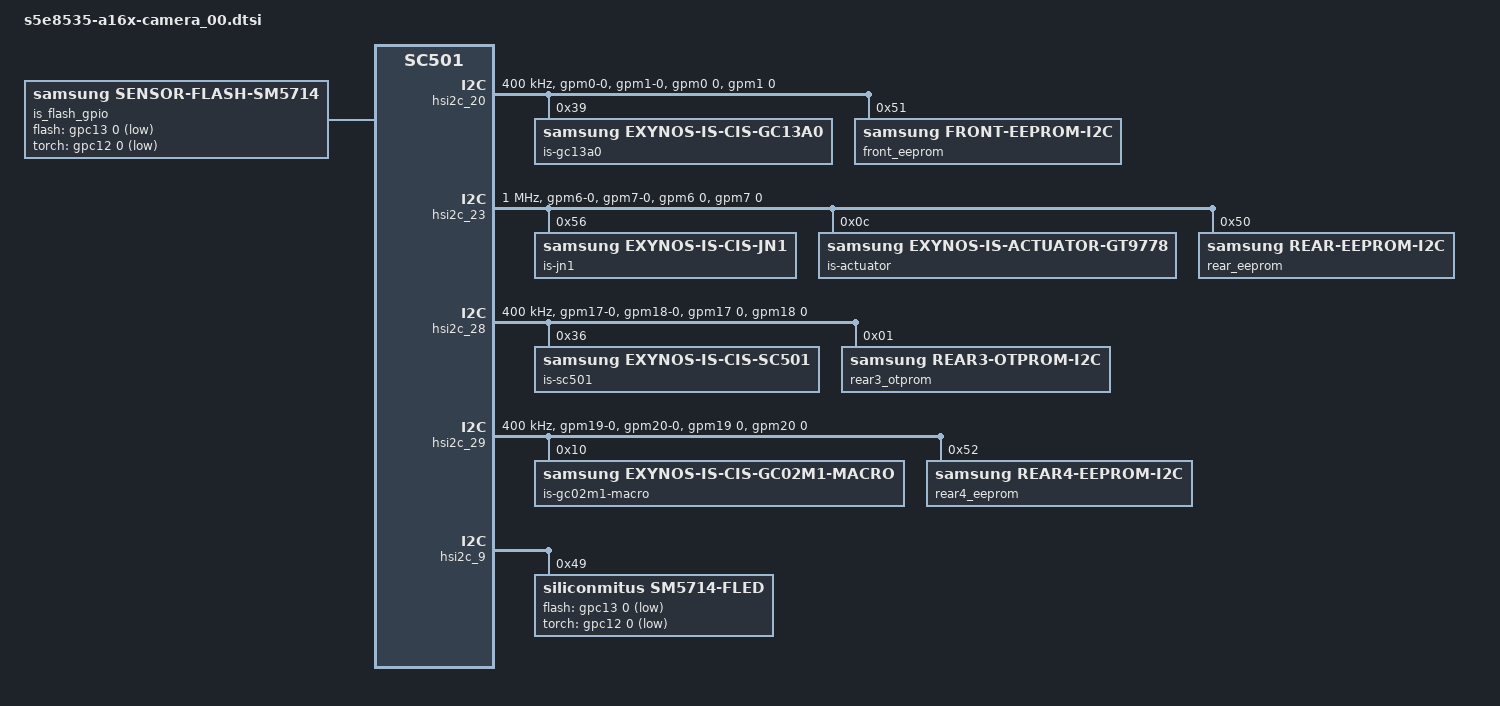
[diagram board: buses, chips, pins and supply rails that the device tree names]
/*
 * Samsung Exynos SoC series Pablo driver
 *
 * Copyright (c) 2022 Samsung Electronics Co., Ltd
 *
 * This program is free software; you can redistribute it and/or modify
 * it under the terms of the GNU General Public License version 2 as
 * published by the Free Software Foundation.
 */

#include <dt-bindings/camera/exynos_is_dt.h>

#include "module_jn1.dtsi"
#include "module_gc13a0.dtsi"
#include "module_sc501.dtsi"
#include "module_gc02m1.dtsi"

/ {
	fragment@camera {
		target-path = "/";
		__overlay__ {
			#address-cells = <2>;
			#size-cells = <1>;
			interrupt-parent = <&gic>;

			is_sensor_jn1: is_sensor_jn1@AC {

				flash {
					product_name = <20>; /* SM5714 */
				};

				power_seq {
					scenario_normal_on {
						20 { pname = "CAM_VDDIO_1P8_EN"; pin = <PIN_OUTPUT 1 1000>; gpio = <&gpp0 7 0x1>; share = <SRT_ACQUIRE SHARED_PIN1 1>; };
						21 { pname = "VDDD_RCAM2_FCAM_1P2"; pin = <PIN_REGULATOR 1 1100>; share = <SRT_ACQUIRE SHARED_PIN4 1>; };
						22 { pname = "sc501 sen_rst high"; pin = <PIN_OUTPUT 1 600>; gpio = <&gpm8 0 0x1>; };
						23 { pname = "VDDA_UW_MACRO_FRONT_2P8"; pin = <PIN_OUTPUT 1 2310>; gpio = <&gpp1 2 0x1>; share = <SRT_ACQUIRE SHARED_PIN3 1>; };
						24 { pname = "sc501 sen_rst low"; pin = <PIN_OUTPUT 0 100>; gpio = <&gpm8 0 0x1>; };
					};
					scenario_normal_off {
						71 { pname = "VDDA_UW_MACRO_FRONT_2P8"; pin = <PIN_OUTPUT 0 1000>; gpio = <&gpp1 2 0x1>; share = <SRT_RELEASE SHARED_PIN3 0>; };
						72 { pname = "VDDD_RCAM2_FCAM_1P2"; pin = <PIN_REGULATOR 0 0>; share = <SRT_RELEASE SHARED_PIN4 0>; };
						90 { pname = "CAM_VDDIO_1P8_EN"; pin = <PIN_OUTPUT 0 1000>; gpio = <&gpp0 7 0x1>; share = <SRT_RELEASE SHARED_PIN1 0>; };
					};
					scenario_vision_on {
						20 { pname = "CAM_VDDIO_1P8_EN"; pin = <PIN_OUTPUT 1 1000>; gpio = <&gpp0 7 0x1>; share = <SRT_ACQUIRE SHARED_PIN1 1>; };
						21 { pname = "VDDD_RCAM2_FCAM_1P2"; pin = <PIN_REGULATOR 1 1100>; share = <SRT_ACQUIRE SHARED_PIN4 1>; };
						22 { pname = "sc501 sen_rst high"; pin = <PIN_OUTPUT 1 600>; gpio = <&gpm8 0 0x1>; };
						23 { pname = "VDDA_UW_MACRO_FRONT_2P8"; pin = <PIN_OUTPUT 1 2310>; gpio = <&gpp1 2 0x1>; share = <SRT_ACQUIRE SHARED_PIN3 1>; };
						24 { pname = "sc501 sen_rst low"; pin = <PIN_OUTPUT 0 100>; gpio = <&gpm8 0 0x1>; };
					};
					scenario_vision_off {
						71 { pname = "VDDA_UW_MACRO_FRONT_2P8"; pin = <PIN_OUTPUT 0 1000>; gpio = <&gpp1 2 0x1>; share = <SRT_RELEASE SHARED_PIN3 0>; };
						72 { pname = "VDDD_RCAM2_FCAM_1P2"; pin = <PIN_REGULATOR 0 0>; share = <SRT_RELEASE SHARED_PIN4 0>; };
						90 { pname = "CAM_VDDIO_1P8_EN"; pin = <PIN_OUTPUT 0 1000>; gpio = <&gpp0 7 0x1>; share = <SRT_RELEASE SHARED_PIN1 0>; };
					};
					scenario_read_rom_on {
						10 { pname = "CAM_VDDIO_1P8_EN"; pin = <PIN_OUTPUT 1 1000>; gpio = <&gpp0 7 0x1>; share = <SRT_ACQUIRE SHARED_PIN1 1>; };
						21 { pname = "VDDD_RCAM2_FCAM_1P2"; pin = <PIN_REGULATOR 1 1500>; share = <SRT_ACQUIRE SHARED_PIN4 1>; };
						22 { pname = "sc501 sen_rst high"; pin = <PIN_OUTPUT 1 1500>; gpio = <&gpm8 0 0x1>; };
						23 { pname = "VDDA_UW_MACRO_FRONT_2P8"; pin = <PIN_OUTPUT 1 2500>; gpio = <&gpp1 2 0x1>; share = <SRT_ACQUIRE SHARED_PIN3 1>; };
						24 { pname = "sc501 sen_rst low"; pin = <PIN_OUTPUT 0 1500>; gpio = <&gpm8 0 0x1>; };
					};
					scenario_read_rom_off {
						21 { pname = "VDDA_UW_MACRO_FRONT_2P8"; pin = <PIN_OUTPUT 0 1000>; gpio = <&gpp1 2 0x1>; share = <SRT_RELEASE SHARED_PIN3 0>; };
						22 { pname = "VDDD_RCAM2_FCAM_1P2"; pin = <PIN_REGULATOR 0 0>; share = <SRT_RELEASE SHARED_PIN4 0>; };
						30 { pname = "CAM_VDDIO_1P8_EN"; pin = <PIN_OUTPUT 0 1000>; gpio = <&gpp0 7 0x1>; share = <SRT_RELEASE SHARED_PIN1 0>; };
					};
				};
			};

			/* Front */
			is_sensor_gc13a0: is_sensor_gc13a0@72 {
				power_seq {
					scenario_normal_on {
						20 { pname = "CAM_VDDIO_1P8_EN"; pin = <PIN_OUTPUT 1 1000>; gpio = <&gpp0 7 0x1>; share = <SRT_ACQUIRE SHARED_PIN1 1>; };
						30 { pname = "VDDD_RCAM2_FCAM_1P2"; pin = <PIN_REGULATOR 1 1500>; share = <SRT_ACQUIRE SHARED_PIN4 1>; };
						35 { pname = "sc501 sen_rst high"; pin = <PIN_OUTPUT 1 1500>; gpio = <&gpm8 0 0x1>; };
						40 { pname = "VDDA_UW_MACRO_FRONT_2P8"; pin = <PIN_OUTPUT 1 2500>; gpio = <&gpp1 2 0x1>; share = <SRT_ACQUIRE SHARED_PIN3 1>; };
						45 { pname = "sc501 sen_rst low"; pin = <PIN_OUTPUT 0 1500>; gpio = <&gpm8 0 0x1>; };
					};
					scenario_normal_off {
						70 { pname = "VDDA_UW_MACRO_FRONT_2P8"; pin = <PIN_OUTPUT 0 1000>; gpio = <&gpp1 2 0x1>; share = <SRT_RELEASE SHARED_PIN3 0>; };
						80 { pname = "VDDD_RCAM2_FCAM_1P2"; pin = <PIN_REGULATOR 0 1000>; share = <SRT_RELEASE SHARED_PIN4 0>; };
						90 { pname = "CAM_VDDIO_1P8_EN"; pin = <PIN_OUTPUT 0 1000>; gpio = <&gpp0 7 0x1>; share = <SRT_RELEASE SHARED_PIN1 0>; };
					};
					scenario_vision_on {
						20 { pname = "CAM_VDDIO_1P8_EN"; pin = <PIN_OUTPUT 1 1000>; gpio = <&gpp0 7 0x1>; share = <SRT_ACQUIRE SHARED_PIN1 1>; };
						30 { pname = "VDDD_RCAM2_FCAM_1P2"; pin = <PIN_REGULATOR 1 1500>; share = <SRT_ACQUIRE SHARED_PIN4 1>; };
						35 { pname = "sc501 sen_rst high"; pin = <PIN_OUTPUT 1 1500>; gpio = <&gpm8 0 0x1>; };
						40 { pname = "VDDA_UW_MACRO_FRONT_2P8"; pin = <PIN_OUTPUT 1 2500>; gpio = <&gpp1 2 0x1>; share = <SRT_ACQUIRE SHARED_PIN3 1>; };
						45 { pname = "sc501 sen_rst low"; pin = <PIN_OUTPUT 0 1500>; gpio = <&gpm8 0 0x1>; };
					};
					scenario_vision_off {
						70 { pname = "VDDA_UW_MACRO_FRONT_2P8"; pin = <PIN_OUTPUT 0 1000>; gpio = <&gpp1 2 0x1>; share = <SRT_RELEASE SHARED_PIN3 0>; };
						80 { pname = "VDDD_RCAM2_FCAM_1P2"; pin = <PIN_REGULATOR 0 1000>; share = <SRT_RELEASE SHARED_PIN4 0>; };
						90 { pname = "CAM_VDDIO_1P8_EN"; pin = <PIN_OUTPUT 0 1000>; gpio = <&gpp0 7 0x1>; share = <SRT_RELEASE SHARED_PIN1 0>; };
					};
					scenario_read_rom_on {
						20 { pname = "CAM_VDDIO_1P8_EN"; pin = <PIN_OUTPUT 1 1000>; gpio = <&gpp0 7 0x1>; share = <SRT_ACQUIRE SHARED_PIN1 1>; };
						30 { pname = "VDDD_RCAM2_FCAM_1P2"; pin = <PIN_REGULATOR 1 1500>; share = <SRT_ACQUIRE SHARED_PIN4 1>; };
						35 { pname = "sc501 sen_rst high"; pin = <PIN_OUTPUT 1 1500>; gpio = <&gpm8 0 0x1>; };
						40 { pname = "VDDA_UW_MACRO_FRONT_2P8"; pin = <PIN_OUTPUT 1 2500>; gpio = <&gpp1 2 0x1>; share = <SRT_ACQUIRE SHARED_PIN3 1>; };
						45 { pname = "sc501 sen_rst low"; pin = <PIN_OUTPUT 0 1500>; gpio = <&gpm8 0 0x1>; };
					};
					scenario_read_rom_off {
						70 { pname = "VDDA_UW_MACRO_FRONT_2P8"; pin = <PIN_OUTPUT 0 1000>; gpio = <&gpp1 2 0x1>; share = <SRT_RELEASE SHARED_PIN3 0>; };
						80 { pname = "VDDD_RCAM2_FCAM_1P2"; pin = <PIN_REGULATOR 0 1000>; share = <SRT_RELEASE SHARED_PIN4 0>; };
						90 { pname = "CAM_VDDIO_1P8_EN"; pin = <PIN_OUTPUT 0 1000>; gpio = <&gpp0 7 0x1>; share = <SRT_RELEASE SHARED_PIN1 0>; };
					};
				};
			};

			/* Ultra-Wide */
			is_sensor_sc501: is_sensor_sc501@6C {
				power_seq {
					scenario_normal_on {
						20 { pname = "CAM_VDDIO_1P8_EN"; pin = <PIN_OUTPUT 1 1500>; gpio = <&gpp0 7 0x1>; share = <SRT_ACQUIRE SHARED_PIN1 1>; };
						30 { pname = "VDDD_RCAM2_FCAM_1P2"; pin = <PIN_REGULATOR 1 1500>; share = <SRT_ACQUIRE SHARED_PIN4 1>; };
						40 { pname = "VDDA_UW_MACRO_FRONT_2P8"; pin = <PIN_OUTPUT 1 2000>; gpio = <&gpp1 2 0x1>; share = <SRT_ACQUIRE SHARED_PIN3 1>; };
						90 { pname = "MCLK"; pin = <PIN_MCLK 1 0>; gpio = <&gpg0 3 0x1>; share = <SRT_ACQUIRE SHARED_PIN2 1>; };
					};
					scenario_normal_off {
						40 { pname = "MCLK"; pin = <PIN_MCLK 0 1000>; gpio = <&gpg0 3 0x1>; share = <SRT_RELEASE SHARED_PIN2 0>; };
						70 { pname = "VDDA_UW_MACRO_FRONT_2P8"; pin = <PIN_OUTPUT 0 500>; gpio = <&gpp1 2 0x1>; share = <SRT_RELEASE SHARED_PIN3 0>; };
						80 { pname = "VDDD_RCAM2_FCAM_1P2"; pin = <PIN_REGULATOR 0 1000>; share = <SRT_RELEASE SHARED_PIN4 0>; };
						90 { pname = "CAM_VDDIO_1P8_EN"; pin = <PIN_OUTPUT 0 500>; gpio = <&gpp0 7 0x1>; share = <SRT_RELEASE SHARED_PIN1 0>; };
					};
					scenario_vision_on {
						20 { pname = "CAM_VDDIO_1P8_EN"; pin = <PIN_OUTPUT 1 1500>; gpio = <&gpp0 7 0x1>; share = <SRT_ACQUIRE SHARED_PIN1 1>; };
						30 { pname = "VDDD_RCAM2_FCAM_1P2"; pin = <PIN_REGULATOR 1 1500>; share = <SRT_ACQUIRE SHARED_PIN4 1>; };
						40 { pname = "VDDA_UW_MACRO_FRONT_2P8"; pin = <PIN_OUTPUT 1 2000>; gpio = <&gpp1 2 0x1>; share = <SRT_ACQUIRE SHARED_PIN3 1>; };
						90 { pname = "MCLK"; pin = <PIN_MCLK 1 0>; gpio = <&gpg0 3 0x1>; share = <SRT_ACQUIRE SHARED_PIN2 1>; };
					};
					scenario_vision_off {
						40 { pname = "MCLK"; pin = <PIN_MCLK 0 1000>; gpio = <&gpg0 3 0x1>; share = <SRT_RELEASE SHARED_PIN2 0>; };
						70 { pname = "VDDA_UW_MACRO_FRONT_2P8"; pin = <PIN_OUTPUT 0 500>; gpio = <&gpp1 2 0x1>; share = <SRT_RELEASE SHARED_PIN3 0>; };
						80 { pname = "VDDD_RCAM2_FCAM_1P2"; pin = <PIN_REGULATOR 0 1000>; share = <SRT_RELEASE SHARED_PIN4 0>; };
						90 { pname = "CAM_VDDIO_1P8_EN"; pin = <PIN_OUTPUT 0 500>; gpio = <&gpp0 7 0x1>; share = <SRT_RELEASE SHARED_PIN1 0>; };
					};
					scenario_read_rom_on {
						20 { pname = "CAM_VDDIO_1P8_EN"; pin = <PIN_OUTPUT 1 1500>; gpio = <&gpp0 7 0x1>; share = <SRT_ACQUIRE SHARED_PIN1 1>; };
						30 { pname = "VDDD_RCAM2_FCAM_1P2"; pin = <PIN_REGULATOR 1 1500>; share = <SRT_ACQUIRE SHARED_PIN4 1>; };
						40 { pname = "VDDA_UW_MACRO_FRONT_2P8"; pin = <PIN_OUTPUT 1 2000>; gpio = <&gpp1 2 0x1>; share = <SRT_ACQUIRE SHARED_PIN3 1>; };
						90 { pname = "MCLK"; pin = <PIN_MCLK 1 0>; gpio = <&gpg0 3 0x1>; share = <SRT_ACQUIRE SHARED_PIN2 1>; };
					};
					scenario_read_rom_off {
						40 { pname = "MCLK"; pin = <PIN_MCLK 0 1000>; gpio = <&gpg0 3 0x1>; share = <SRT_RELEASE SHARED_PIN2 0>; };
						70 { pname = "VDDA_UW_MACRO_FRONT_2P8"; pin = <PIN_OUTPUT 0 500>; gpio = <&gpp1 2 0x1>; share = <SRT_RELEASE SHARED_PIN3 0>; };
						80 { pname = "VDDD_RCAM2_FCAM_1P2"; pin = <PIN_REGULATOR 0 1000>; share = <SRT_RELEASE SHARED_PIN4 0>; };
						90 { pname = "CAM_VDDIO_1P8_EN"; pin = <PIN_OUTPUT 0 500>; gpio = <&gpp0 7 0x1>; share = <SRT_RELEASE SHARED_PIN1 0>; };
					};
				};
			};

			/* Macro */
			is_sensor_gc02m1_macro: is_sensor_gc02m1_macro@20 {

				flash {
					product_name = <20>; /* SM5714 */
				};

				power_seq {
					scenario_normal_on {
						20 { pname = "CAM_VDDIO_1P8_EN"; pin = <PIN_OUTPUT 1 2000>; gpio = <&gpp0 7 0x1>; share = <SRT_ACQUIRE SHARED_PIN1 1>; };
						21 { pname = "VDDD_RCAM2_FCAM_1P2"; pin = <PIN_REGULATOR 1 1500>; share = <SRT_ACQUIRE SHARED_PIN4 1>; };
						25 { pname = "sc501 sen_rst high"; pin = <PIN_OUTPUT 1 1500>; gpio = <&gpm8 0 0x1>; };
						30 { pname = "VDDA_UW_MACRO_FRONT_2P8"; pin = <PIN_OUTPUT 1 2500>; gpio = <&gpp1 2 0x1>; share = <SRT_ACQUIRE SHARED_PIN3 1>; };
						35 { pname = "sc501 sen_rst low"; pin = <PIN_OUTPUT 0 1500>; gpio = <&gpm8 0 0x1>; };
						60 { pname = "MCLK"; pin = <PIN_MCLK 1 12000>; gpio = <&gpg0 3 0x1>; share = <SRT_ACQUIRE SHARED_PIN2 1>; };
					};
					scenario_normal_off {
						20 { pname = "MCLK"; pin = <PIN_MCLK 0 0>; gpio = <&gpg0 3 0x1>; share = <SRT_RELEASE SHARED_PIN2 0>; };
						40 { pname = "VDDA_UW_MACRO_FRONT_2P8"; pin = <PIN_OUTPUT 0 1000>; gpio = <&gpp1 2 0x1>; share = <SRT_RELEASE SHARED_PIN3 0>; };
						41 { pname = "VDDD_RCAM2_FCAM_1P2"; pin = <PIN_REGULATOR 0 0>; share = <SRT_RELEASE SHARED_PIN4 0>; };
						50 { pname = "CAM_VDDIO_1P8_EN"; pin = <PIN_OUTPUT 0 0>; gpio = <&gpp0 7 0x1>; share = <SRT_RELEASE SHARED_PIN1 0>; };
					};
					scenario_vision_on {
						20 { pname = "CAM_VDDIO_1P8_EN"; pin = <PIN_OUTPUT 1 2000>; gpio = <&gpp0 7 0x1>; share = <SRT_ACQUIRE SHARED_PIN1 1>; };
						21 { pname = "VDDD_RCAM2_FCAM_1P2"; pin = <PIN_REGULATOR 1 1500>; share = <SRT_ACQUIRE SHARED_PIN4 1>; };
						25 { pname = "sc501 sen_rst high"; pin = <PIN_OUTPUT 1 1500>; gpio = <&gpm8 0 0x1>; };
						30 { pname = "VDDA_UW_MACRO_FRONT_2P8"; pin = <PIN_OUTPUT 1 2500>; gpio = <&gpp1 2 0x1>; share = <SRT_ACQUIRE SHARED_PIN3 1>; };
						35 { pname = "sc501 sen_rst low"; pin = <PIN_OUTPUT 0 1500>; gpio = <&gpm8 0 0x1>; };
						60 { pname = "MCLK"; pin = <PIN_MCLK 1 12000>; gpio = <&gpg0 3 0x1>; share = <SRT_ACQUIRE SHARED_PIN2 1>; };
					};
					scenario_vision_off {
						20 { pname = "MCLK"; pin = <PIN_MCLK 0 0>; gpio = <&gpg0 3 0x1>; share = <SRT_RELEASE SHARED_PIN2 0>; };
						40 { pname = "VDDA_UW_MACRO_FRONT_2P8"; pin = <PIN_OUTPUT 0 1000>; gpio = <&gpp1 2 0x1>; share = <SRT_RELEASE SHARED_PIN3 0>; };
						41 { pname = "VDDD_RCAM2_FCAM_1P2"; pin = <PIN_REGULATOR 0 0>; share = <SRT_RELEASE SHARED_PIN4 0>; };
						50 { pname = "CAM_VDDIO_1P8_EN"; pin = <PIN_OUTPUT 0 0>; gpio = <&gpp0 7 0x1>; share = <SRT_RELEASE SHARED_PIN1 0>; };
					};
					scenario_read_rom_on {
						10 { pname = "CAM_VDDIO_1P8_EN"; pin = <PIN_OUTPUT 1 2000>; gpio = <&gpp0 7 0x1>; share = <SRT_ACQUIRE SHARED_PIN1 1>; };
						11 { pname = "VDDD_RCAM2_FCAM_1P2"; pin = <PIN_REGULATOR 1 1500>; share = <SRT_ACQUIRE SHARED_PIN4 1>; };
						12 { pname = "sc501 sen_rst high"; pin = <PIN_OUTPUT 1 1500>; gpio = <&gpm8 0 0x1>; };
						13 { pname = "VDDA_UW_MACRO_FRONT_2P8"; pin = <PIN_OUTPUT 1 2500>; gpio = <&gpp1 2 0x1>; share = <SRT_ACQUIRE SHARED_PIN3 1>; };
						14 { pname = "sc501 sen_rst low"; pin = <PIN_OUTPUT 0 1500>; gpio = <&gpm8 0 0x1>; };
					};
					scenario_read_rom_off {
						11 { pname = "VDDA_UW_MACRO_FRONT_2P8"; pin = <PIN_OUTPUT 0 0>; gpio = <&gpp1 2 0x1>; share = <SRT_RELEASE SHARED_PIN3 0>; };
						12 { pname = "VDDD_RCAM2_FCAM_1P2"; pin = <PIN_REGULATOR 0 0>; share = <SRT_RELEASE SHARED_PIN4 0>; };
						20 { pname = "CAM_VDDIO_1P8_EN"; pin = <PIN_OUTPUT 0 0>; gpio = <&gpp0 7 0x1>; share = <SRT_RELEASE SHARED_PIN1 0>; };
					};
				};
			};

			/* FRONT CAMERA */
			is_sensor0: is_sensor0@15030000 {
				#address-cells = <1>;
				#size-cells = <1>;
				scenario = <SENSOR_SCENARIO_NORMAL>;	/* Normal, Vision, OIS etc */
				id = <1>;
				csi_ch = <0>;
				status = "okay";
				use_cphy = <0>;

				interrupts = <0 INTREQ__CSIS0 IRQ_TYPE_LEVEL_HIGH>; /*MIPI-CSI0 */
				interrupt-names = "csi";
				phys = <&mipi_phy_csis0_m0s4s4s4_s22 0>;
				phy_setfile = <&dcphy_setfile_dphy>;
				phy_tune_default_mode = "4128 3096 30";
			};

			/* REAR CAMERA */
			is_sensor1: is_sensor1@15040000 {
				#address-cells = <1>;
				#size-cells = <1>;
				scenario = <SENSOR_SCENARIO_NORMAL>;    /* Normal, Vision, OIS etc */

				id = <0>;
				csi_ch = <1>;
				status = "okay";
				use_cphy = <0>;

				interrupts = <0 INTREQ__CSIS1 IRQ_TYPE_LEVEL_HIGH>; /* MIPI-CSI1 */
				interrupt-names = "csi";
				phys = <&mipi_phy_csis1_m0s4s4s4_s22 0>;
				phy_setfile = <&dcphy_setfile_dphy>;
				phy_tune_default_mode = "4080 3060 30";
			};

			/* MACRO CAMERA */
			is_sensor2: is_sensor2@15050000 {
				#address-cells = <1>;
				#size-cells = <1>;

				scenario = <SENSOR_SCENARIO_NORMAL>;    /* Normal, Vision, OIS etc */

				id = <3>;
				csi_ch = <2>;
				status = "okay";
				use_cphy = <0>;

				interrupts = <0 INTREQ__CSIS2 IRQ_TYPE_LEVEL_HIGH>; /* MIPI-CSI2 */
				interrupt-names = "csi";
				phys = <&mipi_phy_csis2_m0s4s4s4_s22 0>;
				phy_setfile = <&dphy_setfile>;
				phy_tune_default_mode = "1600 1200 30";
			};

			/* ULTRAWIDE CAMERA */
			is_sensor3: is_sensor3@15060000 {
				#address-cells = <1>;
				#size-cells = <1>;
				reg = <0x0 0x15060000 0x1000>, /* MIPI-CSI3 */
					<0x0 0x150F0000 0x10000>; /* PHY: M0S4S4S4S4S2S1 */
				scenario = <SENSOR_SCENARIO_NORMAL>;    /* Normal, Vision, OIS etc */
				id = <4>;
				csi_ch = <3>;
				status = "okay";
				use_cphy = <0>;

				interrupts = <0 INTREQ__CSIS3 IRQ_TYPE_LEVEL_HIGH>; /* MIPI-CSI3 */
				phys = <&mipi_phy_csis3_m0s4s4s4_s22 0>;
				phy_setfile = <&dphy_setfile_2lane>;
				phy_tune_default_mode = "2576 1932 30";
			};

			is_flash_gpio: is-flash-gpio@0 {
				compatible = "samsung,sensor-flash-sm5714";
				sensor-module = <&is_sensor_jn1>,<&is_sensor_gc02m1_macro>;
				id = <0 3>;
				led_ch = <1>;
				status = "okay";
				flash-gpio = <&gpc13 0 0x1>;
				torch-gpio = <&gpc12 0 0x1>;
			};
		}; /* end of __overlay__ */
	}; /* end of fragment */
}; /* end of root */

/***** reference symbol node *****/
/*
 * [Pin control reference]
 * samsung,pin-function = <0: Input, 1: Output, 2~3: Func>;
 * samsung,pin-pud = <0: NP, 1: PD, 3: PU(2KOhm), 5: PU(0.8KOhm)>;
 * samsung,pin-drv = <0: x1, 1: x2, 2: x3, 3: x4>;
 * samsung,pin-con-pdn = <0: Output0, 1: Output1, 2: Input, 3:Prev>;
 * samsung,pin-pud-pdn = <0: NP, 1: PD, 3: PU>;
 */
&pinctrl_1 {
	/* FRONT I2C */
	hsi2c20_bus: hsi2c20-bus {
		samsung,pins = "gpm0-0", "gpm1-0";
		samsung,pin-function = <2>;
		samsung,pin-pud = <3>;
		samsung,pin-drv = <0>;
	};

	hsi2c20_bus_in: hsi2c20-bus-in {
		samsung,pins = "gpm0-0", "gpm1-0";
		samsung,pin-function = <0>;
		samsung,pin-pud = <3>;
		samsung,pin-drv = <0>;
		//samsung,pin-con-pdn = <2>;
		//samsung,pin-pud-pdn = <1>;
	};

	/* REAR WIDE I2C */
	hsi2c23_bus: hsi2c23-bus {
		samsung,pins = "gpm6-0", "gpm7-0";
		samsung,pin-function = <3>;
		samsung,pin-pud = <5>;
		samsung,pin-drv = <0>;
	};

	hsi2c23_bus_in: hsi2c23-bus-in {
		samsung,pins = "gpm6-0", "gpm7-0";
		samsung,pin-function = <0>;
		samsung,pin-pud = <5>;
		samsung,pin-drv = <0>;
		//samsung,pin-con-pdn = <2>;
		//samsung,pin-pud-pdn = <1>;
	};

	/* RCAM2 I2C */
	hsi2c28_bus: hsi2c28-bus {
		samsung,pins = "gpm17-0", "gpm18-0";
		samsung,pin-function = <2>;
		samsung,pin-pud = <3>;
		samsung,pin-drv = <0>;
	};

	hsi2c28_bus_in: hsi2c28-bus-in {
		samsung,pins = "gpm17-0", "gpm18-0";
		samsung,pin-function = <0>;
		samsung,pin-pud = <3>;
		samsung,pin-drv = <0>;
		//samsung,pin-con-pdn = <2>;
		//samsung,pin-pud-pdn = <1>;
	};

	/* RCAM3 I2C */
	hsi2c29_bus: hsi2c29-bus {
		samsung,pins = "gpm19-0", "gpm20-0";
		samsung,pin-function = <3>;
		samsung,pin-pud = <3>;
		samsung,pin-drv = <0>;
	};

	hsi2c29_bus_in: hsi2c29-bus-in {
		samsung,pins = "gpm19-0", "gpm20-0";
		samsung,pin-function = <0>;
		samsung,pin-pud = <3>;
		samsung,pin-drv = <0>;
		//samsung,pin-con-pdn = <2>;
		//samsung,pin-pud-pdn = <1>;
	};
};

&hsi2c_20 {
	#address-cells = <1>;
	#size-cells = <0>;
	gpios = <&gpm0 0 0 &gpm1 0 0>;
	status = "okay";
	clock-frequency = <400000>;
	samsung,reset-before-trans;

	pinctrl-names = "default","on_i2c","off_i2c";
	pinctrl-0 = <&hsi2c20_bus_in>;
	pinctrl-1 = <&hsi2c20_bus>;
	pinctrl-2 = <&hsi2c20_bus_in>;

	is-gc13a0@72 {
		compatible = "samsung,exynos-is-cis-gc13a0";
		sensor-module = <&is_sensor_gc13a0>;
		reg = <0x39>; /* 1 bit right shift */
		id = <1>; /* matching is_sensor id */
		use_initial_ae; /* for initial AE of face unlock */
		setfile = "setA";
		rev_reg = <0x03f0 2 0x13A0>;
		sensor_f_number = <200>;	/* f number 2.0 */
		vendor_use_adaptive_mipi;
		/* check_mipi_end; */
	};

	front_eeprom@A2 { /* Front eeprom */
		compatible = "samsung,front-eeprom-i2c";
		reg = <0x51>;

		rom_power_position = <1>;
		rom_size = <0x1C7C>;
		cal_map_es_version = <1>;
		camera_module_es_version = "A";
		/*skip_cal_loading;*/

		/* 0 header */
		header_crc_check_list = <0x0000 0x0051 0x0052>;
		/* 0 module */
		crc_check_list	= <0x0056 0x0477 0x0478>;
		/* Master */
		rom_header_version_start_addr = <0x0A>;
		rom_header_cal_data_start_addr = <0x00>;
		rom_header_cal_map_ver_start_addr = <0x16>;
		rom_header_project_name_start_addr = <0x1E>;
		rom_header_module_id_addr = <0x36>;
		rom_header_sensor_id_addr = <0x40>;
		rom_awb_master_addr = <0x0064>;

		/* standard cal */
		use_standard_cal;
		rom_standard_cal_start_addr = <0x0056>;
		rom_standard_cal_end_addr = <0x047B>;
		rom_standard_cal_sec2lsi_end_addr = <0x1A63>;
		rom_awb_start_addr = <0x0064>;
		rom_awb_end_addr = <0x006B>;
		rom_shading_start_addr = <0x006E>;
		rom_shading_end_addr = <0x0466>;
		rom_factory_start_addr = <0x047C>;
		rom_factory_end_addr = <0x069B>;

		rom_awb_sec2lsi_start_addr = <0x0064>;
		rom_awb_sec2lsi_end_addr = <0x006B>;
		rom_awb_sec2lsi_checksum_addr = <0x0070>;
		rom_awb_sec2lsi_checksum_len = <0xC>;
		rom_shading_sec2lsi_start_addr = <0x0074>;
		rom_shading_sec2lsi_end_addr = <0x1A5B>;
		rom_shading_sec2lsi_checksum_addr = <0x1A60>;
		rom_shading_sec2lsi_checksum_len = <0x19EC>;
		rom_factory_sec2lsi_start_addr = <0x1A64>;
	};
};

&hsi2c_23 {
	#address-cells = <1>;
	#size-cells = <0>;
	gpios = <&gpm6 0 0 &gpm7 0 0>;
	status = "okay";
	clock-frequency = <1000000>;
	samsung,reset-before-trans;
	samsung,fast-plus-mode;

	pinctrl-names = "default","on_i2c","off_i2c";
	pinctrl-0 = <&hsi2c23_bus_in>;
	pinctrl-1 = <&hsi2c23_bus>;
	pinctrl-2 = <&hsi2c23_bus_in>;

	is-jn1@AC {
		compatible = "samsung,exynos-is-cis-jn1";
		sensor-module = <&is_sensor_jn1>;
		reg = <0x56>; /* 1 bit right shift */
		id = <0>; /* matching is_sensor id */
		setfile = "setA";
		rev_reg = <0x0002 1 0xA2>;
		sensor_f_number = <180>;	/* f number 1.8 */
		vendor_use_adaptive_mipi;
		/* check_mipi_end; */
	};

	is-actuator@18 {
		compatible = "samsung,exynos-is-actuator-gt9778";
		sensor-module = <&is_sensor_jn1>;
		reg = <0x0C>;
		id = <0>; /* matching is_sensor id */
		place = <0>;
		status = "okay";
	};

	rear_eeprom@A0 { /* Rear Wide eeprom */
		compatible = "samsung,rear-eeprom-i2c";
		reg = <0x50>;

		rom_power_position = <0>;
		rom_size = <0x531A>;
		cal_map_es_version = <1>;
		camera_module_es_version = "A";
		/*skip_cal_loading;*/

		/* 0 header */
		header_crc_check_list = <0x0000 0x00FB 0x00FC>;

		crc_check_list = <  0x0140 0x21EB 0X21EC
			0x2670 0x26BB 0x26BC
			0x26C0 0x2E7B 0x2E7C
			0x36E0 0x36FB 0x36FC
			0x3700 0x3AFB 0x3AFC >;
		/* Master */
		rom_header_version_start_addr = <0x6E>;
		rom_header_cal_data_start_addr = <0x00>;
		rom_header_cal_map_ver_start_addr = <0x90>;
		rom_header_project_name_start_addr = <0x98>;
		rom_header_module_id_addr = <0xB6>;
		rom_header_sensor_id_addr = <0xC0>;
		rom_awb_master_addr = <0x36E0>;
		rom_af_cal_addr = <0x267C 0x2670>; /*AF position inf 0 Near Far */

		/* Rear Crosstalk Cal data */
		rom_xtc_cal_data_start_addr = <0x0140>;
		rom_xtc_cal_data_size = <0x20AC>;
		rom_xtc_cal_data_addr_list = <0x0140 0x21EB>;
		rear_remosaic_tetra_xtc_start_addr	= <0x14AC>;
		rear_remosaic_tetra_xtc_size		= <0x0A34>;
		rear_remosaic_sensor_xtc_start_addr	= <0x1EE0>;
		rear_remosaic_sensor_xtc_size		= <0x0300>;
		rear_remosaic_pdxtc_start_addr		= <0x0140>;
		rear_remosaic_pdxtc_size			= <0x0FA0>;
		rear_remosaic_sw_ggc_start_addr		= <0x10E0>;
		rear_remosaic_sw_ggc_size			= <0x0272>;

		use_standard_cal;
		rom_standard_cal_start_addr = <0x0100>;
		rom_standard_cal_end_addr = <0x3AFF>;
		rom_standard_cal_sec2lsi_end_addr = <0x50DF>;
		rom_awb_start_addr = <0x36E0>;
		rom_awb_end_addr = <0x36E7>;
		rom_shading_start_addr = <0x3700>;
		rom_shading_end_addr = <0x3AF8>;
		rom_factory_start_addr = <0x3B00>;
		rom_factory_end_addr = <0x3D39>;

		rom_awb_sec2lsi_start_addr = <0x36E0>;
		rom_awb_sec2lsi_end_addr = <0x36E7>;
		rom_awb_sec2lsi_checksum_addr = <0x36EC>;
		rom_awb_sec2lsi_checksum_len = <0xC>;
		rom_shading_sec2lsi_start_addr = <0x36F0>;
		rom_shading_sec2lsi_end_addr = <0x50D7>;
		rom_shading_sec2lsi_checksum_addr = <0x50DC>;
		rom_shading_sec2lsi_checksum_len = <0x19EC>;
		rom_factory_sec2lsi_start_addr = <0x50E0>;
	};
};

&hsi2c_28 {
	#address-cells = <1>;
	#size-cells = <0>;
	gpios = <&gpm17 0 0 &gpm18 0 0>;
	status = "okay";
	clock-frequency = <400000>;
	samsung,reset-before-trans;

	pinctrl-names = "default","on_i2c","off_i2c";
	pinctrl-0 = <&hsi2c28_bus_in>;
	pinctrl-1 = <&hsi2c28_bus>;
	pinctrl-2 = <&hsi2c28_bus_in>;

	is-sc501@6C { /* ultra wide */
		compatible = "samsung,exynos-is-cis-sc501";
		sensor-module = <&is_sensor_sc501>;
		reg = <0x36>; /* 1 bit right shift */
		id = <4>; /* matching is_sensor id */
		setfile = "setB";
		rev_reg = <0x3107 2 0xee45>; /* sensor id */
		sensor_f_number = <220>;	/* f number 2.2 */
		/* check_mipi_end; */
	};

	rear3_otprom@6C { /* Rear3 otprom */
		compatible = "samsung,rear3-otprom-i2c";
		reg = <0x01>;
		rom_power_position = <4>;
		rom_size = <0x1C84>;
		cal_map_es_version = <1>;
		camera_module_es_version = "A";
		/* skip_cal_loading; */

		/* 20230602_A15_5G_CAM2(UW_5M_SC501CS)_OTP_Rear_Cal map V008.001_QC_LSI_MTK_ê³µìš©_Map */
		/* 0 header */
		header_crc_check_list	= <0x0000 0x0051 0x0052>;
		/* 0 module */
		crc_check_list	= <0x0056 0x0477 0x0478>;
		/* Master */
		rom_header_version_start_addr	= <0x000A>;
		rom_header_cal_data_start_addr	= <0x0064>;
		rom_header_cal_map_ver_start_addr	= <0x0016>;
		rom_header_project_name_start_addr	= <0x1E>;
		rom_header_module_id_addr	= <0x0030>;
		rom_header_sensor_id_addr	= <0x0040>;
		rom_awb_master_addr	= <0x0064>;

		/* standard cal */
		use_standard_cal;
		rom_standard_cal_start_addr	= <0x0064>;
		rom_standard_cal_end_addr	= <0x047B>;
		rom_standard_cal_sec2lsi_end_addr	= <0x01A63>;
		rom_awb_start_addr	= <0x0064>;
		rom_awb_end_addr	= <0x006B>;
		rom_shading_start_addr	= <0x006E>;
		rom_shading_end_addr	= <0x0466>;
		rom_awb_sec2lsi_start_addr	= <0x0064>;
		rom_awb_sec2lsi_end_addr	= <0x006B>;
		rom_awb_sec2lsi_checksum_addr	= <0x0070>;
		rom_awb_sec2lsi_checksum_len	= <0x000C>;
		rom_shading_sec2lsi_start_addr	= <0x0074>;
		rom_shading_sec2lsi_end_addr	= <0x1A5B>;
		rom_shading_sec2lsi_checksum_addr	= <0x1A60>;
		rom_shading_sec2lsi_checksum_len	= <0x19EC>;
	};
};

&hsi2c_29 {
	#address-cells = <1>;
	#size-cells = <0>;
	gpios = <&gpm19 0 0 &gpm20 0 0>;
	status = "okay";
	clock-frequency = <400000>;
	samsung,reset-before-trans;

	pinctrl-names = "default","on_i2c","off_i2c";
	pinctrl-0 = <&hsi2c29_bus_in>;
	pinctrl-1 = <&hsi2c29_bus>;
	pinctrl-2 = <&hsi2c29_bus_in>;

	is-gc02m1-macro@20 { /* Macro */
		compatible = "samsung,exynos-is-cis-gc02m1-macro";
		sensor-module = <&is_sensor_gc02m1_macro>;
		reg = <0x10>; /* 1 bit right shift */
		id = <3>; /* matching is_sensor id */
		setfile = "setB";
		sensor_f_number = <220>;	/* f number 2.2 */
		/* check_mipi_end; */
	};

	rear4_eeprom@A4 { /* Macro eeprom */
		compatible = "samsung,rear4-eeprom-i2c";
		reg = <0x52>;

		rom_power_position = <6>;
		rom_size = <0x1D4A>;
		cal_map_es_version = <1>;
		camera_module_es_version = "A";
		/* skip_cal_loading; */

		/* 0 header */
		header_crc_check_list = <0x0000 0x00FB 0x00FC>;
		/* 0 module */
		crc_check_list = <  0x0100 0x010B 0X010C
			0x0110 0x011B 0x011C
			0x0120 0x051B 0x051C >;
		/* Master */
		rom_header_version_start_addr = <0x5E>;
		rom_header_cal_data_start_addr = <0x00>;
		rom_header_cal_map_ver_start_addr = <0x88>;
		rom_header_project_name_start_addr = <0x90>;
		rom_header_module_id_addr = <0xAE>;
		rom_header_sensor_id_addr = <0xB8>;
		rom_awb_master_addr = <0x0110>;

		/* standard cal */
		use_standard_cal;
		rom_standard_cal_start_addr = <0x0100>;
		rom_standard_cal_end_addr = <0x051F>;
		rom_standard_cal_sec2lsi_end_addr = <0x1B0F>;
		rom_awb_start_addr = <0x0110>;
		rom_awb_end_addr = <0x0117>;
		rom_shading_start_addr = <0x0120>;
		rom_shading_end_addr = <0x0518>;
		rom_factory_start_addr = <0x0520>;
		rom_factory_end_addr = <0x0759>;

		rom_awb_sec2lsi_start_addr = <0x0110>;
		rom_awb_sec2lsi_end_addr = <0x0117>;
		rom_awb_sec2lsi_checksum_addr = <0x011C>;
		rom_awb_sec2lsi_checksum_len = <0xC>;
		rom_shading_sec2lsi_start_addr = <0x0120>;
		rom_shading_sec2lsi_end_addr = <0x1B07>;
		rom_shading_sec2lsi_checksum_addr = <0x1B0C>;
		rom_shading_sec2lsi_checksum_len = <0x19EC>;
		rom_factory_sec2lsi_start_addr = <0x1B10>;
	};
};

/* FLASH-LED: LEDS-SM5714 */
&hsi2c_9 {
	sm5714-fled@49 {
		compatible = "siliconmitus,sm5714-fled";
		status = "okay";
		reg = <0x49>;
		flash-gpio = <&gpc13 0 0x01>;
		torch-gpio = <&gpc12 0 0x01>;
		flash-brightness = <0xA>; /* 0x0(300mA), 0x1(700mA), 0x2(800mA), 0x3(900mA) ~ 0xF(1500mA) : 50mA Step */
		preflash-brightness = <0x4>;
		torch-brightness = <0x4>; /* 0x0(50mA) ~ 0x7(225mA) : 25mA Step */
		torch-brightness-levels = <0 1 2 5 7>;
		timeout = <0xff>;
	};
};

&exynos_is {
	vender {
		use_module_check;
		check_sensor_vendor;

		is_vendor_sensor_count = <4>;
		max_supported_camera = <4>;
		supported_cameraId = <0 1 58 60>;
		/*
		* Wide(0)
		* Front(1)
		* U Wide(2)
		* Front 80(3) - not available for factory
		* Front Secure(5) - not available for factory
		* DUAL_REAR_PORTRAIT_WIDE(23)
		* Bokeh(52)
		* Rear_UW(58)
		* Macro(60)
		*/

		/* sysfs camera id */
		max_camera_num = <5>;
		sensor_id { /* sensor position = <sensor_id> */
			0 = <72>;	/* JN1 */
			1 = <227>;	/* GC13A0 */
			4 = <223>;  /* SC501 */
			6 = <214>;	/* GC02M1 */
		};

		camera_info0 {			/* 0 : sysfs rear */
			internal_id = <0>;	/* 0 : wide */
			isp = <0>;		/* 0 : INT, 1 : EXT, 2 : SOC */
			cal_memory = <2>;	/* 0 : N, 1 : FROM, 2 : EEPROM, 3 : OTP */
			read_version = <0>;	/* 0 : SYSFS, 1 : CAMON */
			core_voltage = <0>;	/* 0 : N, 1 : Y */
			upgrade = <0>;		/* 0 : N, 1 : SYSFS , 2 : CAMON */
			fw_write = <0>;		/* 0 : N, 1 : OS, 2 : SD, 3 : ALL */
			fw_dump = <0>;		/* 0 : N, 1 : Y */
			companion = <0>;	/* 0 : N, 1 : Y */
			ois = <0>;		/* 0 : N, 1 : Y */
			valid = <1>;		/* 0 : INVALID, 1 : VALID */
		};
		camera_info1 {			/* 1 : sysfs front */
			internal_id = <1>;	/* 1 : front master */
			isp = <0>;		/* 0 : INT, 1 : EXT, 2 : SOC */
			cal_memory = <2>;	/* 0 : N, 1 : FROM, 2 : EEPROM, 3 : OTP */
			read_version = <0>;	/* 0 : SYSFS, 1 : CAMON */
			core_voltage = <0>;	/* 0 : N, 1 : Y */
			upgrade = <0>;		/* 0 : N, 1 : SYSFS, 2 : CAMON */
			fw_write = <0>;		/* 0 : N, 1 : OS, 2 : SD, 3 : ALL */
			fw_dump = <0>;		/* 0 : N, 1 : Y */
			companion = <0>;	/* 0 : N, 1 : Y */
			ois = <0>;		/* 0 : N, 1 : Y */
			valid = <1>;		/* 0 : INVALID, 1 : VALID */
		};
		camera_info2 {			/* 2 : sysfs rear2 */
			internal_id = <4>;	/* 2 : bokeh */
			isp = <0>;		/* 0 : INT, 1 : EXT, 2 : SOC */
			cal_memory = <3>;	/* 0 : N, 1 : FROM, 2 : EEPROM, 3 : OTP */
			read_version = <0>;	/* 0 : SYSFS, 1 : CAMON */
			core_voltage = <0>;	/* 0 : N, 1 : Y */
			upgrade = <0>;		/* 0 : N, 1 : SYSFS, 2 : CAMON */
			fw_write = <0>;		/* 0 : N, 1 : OS, 2 : SD, 3 : ALL */
			fw_dump = <0>;		/* 0 : N, 1 : Y */
			companion = <0>;	/* 0 : N, 1 : Y */
			ois = <0>;		/* 0 : N, 1 : Y */
			valid = <1>;		/* 0 : INVALID, 1 : VALID */
		};
		camera_info3 {			/* 3 : sysfs front2 */
			valid = <0>;		/* 0 : INVALID, 1 : VALID */
		};
		camera_info4 {			/* 4 : sysfs rear3 */
			internal_id = <6>;	/* 4 : macro */
			isp = <0>;		/* 0 : INT, 1 : EXT, 2 : SOC */
			cal_memory = <2>;	/* 0 : N, 1 : FROM, 2 : EEPROM, 3 : OTP */
			read_version = <0>;	/* 0 : SYSFS, 1 : CAMON */
			core_voltage = <0>;	/* 0 : N, 1 : Y */
			upgrade = <0>;		/* 0 : N, 1 : SYSFS, 2 : CAMON */
			fw_write = <0>;		/* 0 : N, 1 : OS, 2 : SD, 3 : ALL */
			fw_dump = <0>;		/* 0 : N, 1 : Y */
			companion = <0>;	/* 0 : N, 1 : Y */
			ois = <0>;		/* 0 : N, 1 : Y */
			valid = <1>;		/* 0 : INVALID, 1 : VALID   */
		};
	};

	lic_offsets {
		/* 3AA = <setA lic offset0, setA lic offset1, set A trigger context */
		/*		setB lic offset0, setB lic offset1, set B trigger context> */
		/* 4672: 4640x4352 */
		/* 5824: 5804x4352 */
		3AA = <5461 10922 0 5461 10922 0>;
	};

	buffer_info {
		ypp_buf_max_width = <4608>;	/* defalut value : 5760 */
	};

	is_dvfs {
		#define CPU_CL0	"0-5"
		#define CPU_CL1	"6-7"
		#define CPU_ALL	"0-7"

		table0 {
			desc = "dvfs table v0.2";

			default_csis = <1>;
			default_cam = <1>;
			default_isp = <1>;
			default_m2m = <1>;
			default_mif = <3>;
			default_int = <1>;
			default_cpu = CPU_CL0;

			rear_single_photo_isp = <6>;
			rear_single_photo_mif = <7>;
			rear_single_photo_int = <5>;
			rear_single_photo_cpu = CPU_CL0;

			rear_single_photo_full_mif = <3>;
			rear_single_photo_full_int = <4>;
			rear_single_photo_full_cpu = CPU_CL0;

			rear_single_video_hd30_isp = <6>;
			rear_single_video_hd30_mif = <6>;
			rear_single_video_hd30_int = <5>;
			rear_single_video_hd30_cpu = CPU_CL0;

			rear_single_video_fhd30_isp = <6>;
			rear_single_video_fhd30_mif = <6>;
			rear_single_video_fhd30_int = <5>;
			rear_single_video_fhd30_cpu = CPU_CL0;

			rear_single_video_fhd60_isp = <0>;
			rear_single_video_fhd60_mif = <3>;
			rear_single_video_fhd60_int = <0>;
			rear_single_video_fhd60_cpu = CPU_CL0;

			rear_single_video_uhd30_isp = <0>;
			rear_single_video_uhd30_mif = <3>;
			rear_single_video_uhd30_int = <0>;
			rear_single_video_uhd30_cpu = CPU_CL0;

			rear_single_capture_cam = <1>;
			rear_single_capture_isp = <3>;
			rear_single_capture_mif = <1>;
			rear_single_capture_int = <2>;
			rear_single_capture_cpu = CPU_CL0;

			rear_single_video_fhd120_isp = <0>;
			rear_single_video_fhd120_m2m = <0>;
			rear_single_video_fhd120_mif = <3>;
			rear_single_video_fhd120_int = <0>;
			rear_single_video_fhd120_cpu = CPU_CL0;

			rear_single_video_hd240_isp = <6>;
			rear_single_video_hd240_m2m = <5>;
			rear_single_video_hd240_mif = <3>;
			rear_single_video_hd240_int = <3>;
			rear_single_video_hd240_cpu = CPU_CL0;

			rear_single_ssm_isp = <6>;
			rear_single_ssm_m2m = <5>;
			rear_single_ssm_mif = <3>;
			rear_single_ssm_int = <3>;
			rear_single_ssm_hpg = <6>;
			rear_single_ssm_cpu = CPU_CL0;

			rear_single_vt_isp = <6>;
			rear_single_vt_mif = <7>;
			rear_single_vt_int = <5>;
			rear_single_vt_cpu = CPU_CL0;

			rear_single_video_fhd30_supersteady_isp = <0>;
			rear_single_video_fhd30_supersteady_mif = <3>;
			rear_single_video_fhd30_supersteady_int = <0>;
			rear_single_video_fhd30_supersteady_cpu = CPU_CL0;

			rear_single_remosaic_photo_isp = <0>;
			rear_single_remosaic_photo_mif = <3>;
			rear_single_remosaic_photo_int = <0>;
			rear_single_remosaic_photo_cpu = CPU_CL0;

			rear_single_remosaic_capture_cam = <0>;
			rear_single_remosaic_capture_isp = <1>;
			rear_single_remosaic_capture_mif = <3>;
			rear_single_remosaic_capture_int = <4>;
			rear_single_remosaic_capture_cpu = CPU_CL0;

			rear_dual_wide_tele_photo_isp = <6>;
			rear_dual_wide_tele_photo_mif = <6>;
			rear_dual_wide_tele_photo_int = <5>;
			rear_dual_wide_tele_photo_cpu = CPU_CL0;

			rear_dual_wide_tele_video_fhd30_isp = <0>;
			rear_dual_wide_tele_video_fhd30_mif = <3>;
			rear_dual_wide_tele_video_fhd30_int = <0>;
			rear_dual_wide_tele_video_fhd30_cpu = CPU_CL0;

			rear_dual_wide_tele_video_uhd30_isp = <0>;
			rear_dual_wide_tele_video_uhd30_mif = <3>;
			rear_dual_wide_tele_video_uhd30_int = <0>;
			rear_dual_wide_tele_video_uhd30_cpu = CPU_CL0;

			rear_dual_wide_tele_video_fhd60_isp = <0>;
			rear_dual_wide_tele_video_fhd60_mif = <3>;
			rear_dual_wide_tele_video_fhd60_int = <0>;
			rear_dual_wide_tele_video_fhd60_cpu = CPU_CL0;

			rear_dual_wide_tele_capture_cam = <2>;
			rear_dual_wide_tele_capture_isp = <5>;
			rear_dual_wide_tele_capture_mif = <6>;
			rear_dual_wide_tele_capture_int = <5>;
			rear_dual_wide_tele_capture_cpu = CPU_CL0;

			rear_dual_wide_ultrawide_photo_isp = <0>;
			rear_dual_wide_ultrawide_photo_mif = <3>;
			rear_dual_wide_ultrawide_photo_int = <0>;
			rear_dual_wide_ultrawide_photo_cpu = CPU_CL0;

			rear_dual_wide_ultrawide_video_fhd30_isp = <0>;
			rear_dual_wide_ultrawide_video_fhd30_mif = <3>;
			rear_dual_wide_ultrawide_video_fhd30_int = <0>;
			rear_dual_wide_ultrawide_video_fhd30_cpu = CPU_CL0;

			rear_dual_wide_ultrawide_video_uhd30_isp = <0>;
			rear_dual_wide_ultrawide_video_uhd30_mif = <3>;
			rear_dual_wide_ultrawide_video_uhd30_int = <0>;
			rear_dual_wide_ultrawide_video_uhd30_cpu = CPU_CL0;

			rear_dual_wide_ultrawide_video_fhd60_isp = <0>;
			rear_dual_wide_ultrawide_video_fhd60_mif = <3>;
			rear_dual_wide_ultrawide_video_fhd60_int = <0>;
			rear_dual_wide_ultrawide_video_fhd60_cpu = CPU_CL0;

			rear_dual_wide_ultrawide_capture_cam = <0>;
			rear_dual_wide_ultrawide_capture_isp = <0>;
			rear_dual_wide_ultrawide_capture_mif = <3>;
			rear_dual_wide_ultrawide_capture_int = <0>;
			rear_dual_wide_ultrawide_capture_cpu = CPU_CL0;

			front_single_photo_isp = <6>;
			front_single_photo_mif = <6>;
			front_single_photo_int = <5>;
			front_single_photo_cpu = CPU_CL0;

			front_single_photo_full_mif = <3>;
			front_single_photo_full_int = <3>;
			front_single_photo_full_cpu = CPU_CL0;

			front_single_video_hd30_isp = <6>;
			front_single_video_hd30_mif = <6>;
			front_single_video_hd30_int = <5>;
			front_single_video_hd30_cpu = CPU_CL0;

			front_single_video_fhd30_isp = <6>;
			front_single_video_fhd30_mif = <6>;
			front_single_video_fhd30_int = <5>;
			front_single_video_fhd30_cpu = CPU_CL0;

			front_single_video_uhd30_isp = <0>;
			front_single_video_uhd30_mif = <3>;
			front_single_video_uhd30_int = <0>;
			front_single_video_uhd30_cpu = CPU_CL0;

			front_single_video_fhd60_isp = <0>;
			front_single_video_fhd60_mif = <3>;
			front_single_video_fhd60_int = <0>;
			front_single_video_fhd60_cpu = CPU_CL0;

			front_single_capture_cam = <1>;
			front_single_capture_isp = <4>;
			front_single_capture_mif = <3>;
			front_single_capture_int = <3>;
			front_single_capture_cpu = CPU_CL0;

			front_single_vt_isp = <6>;
			front_single_vt_mif = <7>;
			front_single_vt_int = <5>;
			front_single_vt_cpu = CPU_CL0;

			front_single_video_fhd120_isp = <0>;
			front_single_video_fhd120_mif = <0>;
			front_single_video_fhd120_int = <3>;
			front_single_video_fhd120_hpg = <0>;
			front_single_video_fhd120_cpu = CPU_CL0;

			rear_single_wide_fastae_cam = <6>;
			rear_single_wide_fastae_isp = <6>;
			rear_single_wide_fastae_m2m = <5>;
			rear_single_wide_fastae_mif = <7>;
			rear_single_wide_fastae_int = <5>;
			rear_single_wide_fastae_cpu = CPU_CL0;

			front_single_fastae_cam = <6>;
			front_single_fastae_isp = <6>;
			front_single_fastae_m2m = <5>;
			front_single_fastae_mif = <8>;
			front_single_fastae_int = <5>;
			front_single_fastae_cpu = CPU_CL0;

			pip_dual_photo_isp = <6>;
			pip_dual_photo_mif = <4>;
			pip_dual_photo_int = <5>;
			pip_dual_photo_cpu = CPU_CL0;

			pip_dual_capture_cam = <0>;
			pip_dual_capture_isp = <1>;
			pip_dual_capture_mif = <3>;
			pip_dual_capture_int = <5>;
			pip_dual_capture_cpu = CPU_CL0;

			pip_dual_video_fhd30_isp = <1>;
			pip_dual_video_fhd30_mif = <3>;
			pip_dual_video_fhd30_int = <4>;
			pip_dual_video_fhd30_cpu = CPU_CL0;

			sensor_only_rear_single_cam = <1>;
			sensor_only_rear_single_csis = <1>;
			sensor_only_rear_single_isp = <1>;
			sensor_only_rear_single_m2m = <1>;
			sensor_only_rear_single_mif = <3>;
			sensor_only_rear_single_int = <1>;
			sensor_only_rear_single_cpu = CPU_CL0;

			sensor_only_front_cam = <1>;
			sensor_only_front_csis = <1>;
			sensor_only_front_isp = <1>;
			sensor_only_front_m2m = <1>;
			sensor_only_front_mif = <3>;
			sensor_only_front_int = <1>;
			sensor_only_front_cpu = CPU_CL0;

			throttling_cam = <0>;
			throttling_csis = <0>;
			throttling_isp = <0>;
			throttling_m2m = <0>;
			throttling_mif = <3>;
			throttling_int = <0>;
			throttling_hpg = <0>;
			throttling_cpu = CPU_CL0;

			max_cam = <1>;
			max_csis = <1>;
			max_isp = <1>;
			max_m2m = <1>;
			max_mif = <3>;
			max_int = <1>;
			max_cpu = CPU_CL0;
		};
	};
};

